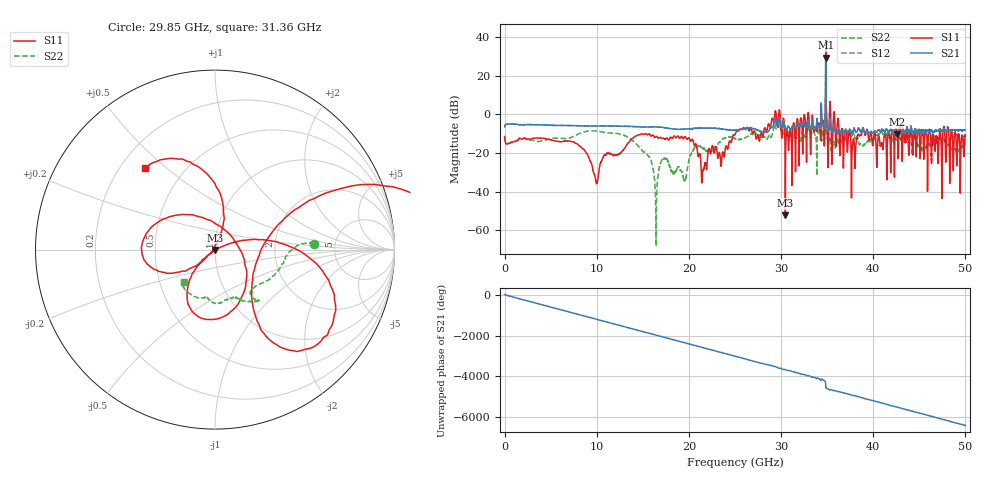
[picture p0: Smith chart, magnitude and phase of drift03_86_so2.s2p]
!Created with skrf (http://scikit-rf.org).
# Hz S RI R 50.0
!freq ReS11 ImS11 ReS21 ImS21 ReS12 ImS12 ReS22 ImS22
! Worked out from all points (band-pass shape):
!   10001 points, 300 kHz to 50 GHz, reference 50 ohm
!   highest |S21| = 29.27 dB at 34.85 GHz (marker M1); lowest = -10.3 dB at 42.55 GHz (marker M2)
!   |S21| within 3 dB of the highest: 34.84376 GHz to 34.84586 GHz (2.099 MHz wide, 0.00602 % of centre)
!   lowest |S11| = -52.3 dB at 30.47 GHz (marker M3), VSWR 1.00, Z = 50.2 - j0.175 ohm
!   |S11| at or under -10 dB: start of sweep to 15.23 GHz; 15.31 GHz to 25.05 GHz (9.741 GHz wide, 48.3 % of centre); 40.22 GHz to 41.61 GHz (1.391 GHz wide, 3.4 % of centre) (the widest 3 of 52)
!   |S22| runs from -68.1 to 20.1 dB; largest |S21 - S12| = 4
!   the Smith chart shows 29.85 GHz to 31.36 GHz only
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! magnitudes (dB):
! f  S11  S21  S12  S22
! 300 kHz  -11.5  -6.5  -6.5  -11.5
! 8.335 GHz  -17.1  -6.0  -6.0  -9.6
! 9.955 GHz  -35.6  -6.1  -6.1  -8.7
! 10.91 GHz  -21.0  -6.0  -6.0  -9.4
! 13.84 GHz  -12.5  -6.3  -6.3  -13.5
! 16.67 GHz  -12.3  -6.5  -6.5  -30.5
! 17.34 GHz  -12.7  -6.9  -6.9  -23.0
! 19.56 GHz  -11.7  -7.6  -7.6  -33.9
! 20.21 GHz  -13.9  -7.4  -7.5  -20.4
! 21.55 GHz  -28.7  -7.2  -7.2  -17.7
! 25 GHz  -10.6  -8.2  -8.2  -12.5
! 27.51 GHz  -11.0  -8.3  -8.4  -10.7
! 29.6 GHz  -5.5  -5.7  -5.9  -7.8
! 30.47 GHz  -52.3  -7.2  -7.2  -9.0
! 33.34 GHz  -3.8  -6.7  -6.7  -9.3
! 34.85 GHz  38.1  29.3  29.0  20.1
! 35.63 GHz  -5.8  -9.4  -9.3  -15.9
! 37.84 GHz  -12.9  -8.1  -8.2  -9.7
! 39.07 GHz  -10.3  -9.3  -9.5  -15.4
! 41.67 GHz  -9.2  -9.4  -9.4  -11.5
! 42.55 GHz  -8.5  -10.3  -10.3  -13.2
! 50 GHz  -10.6  -8.2  -8.2  -15.3
